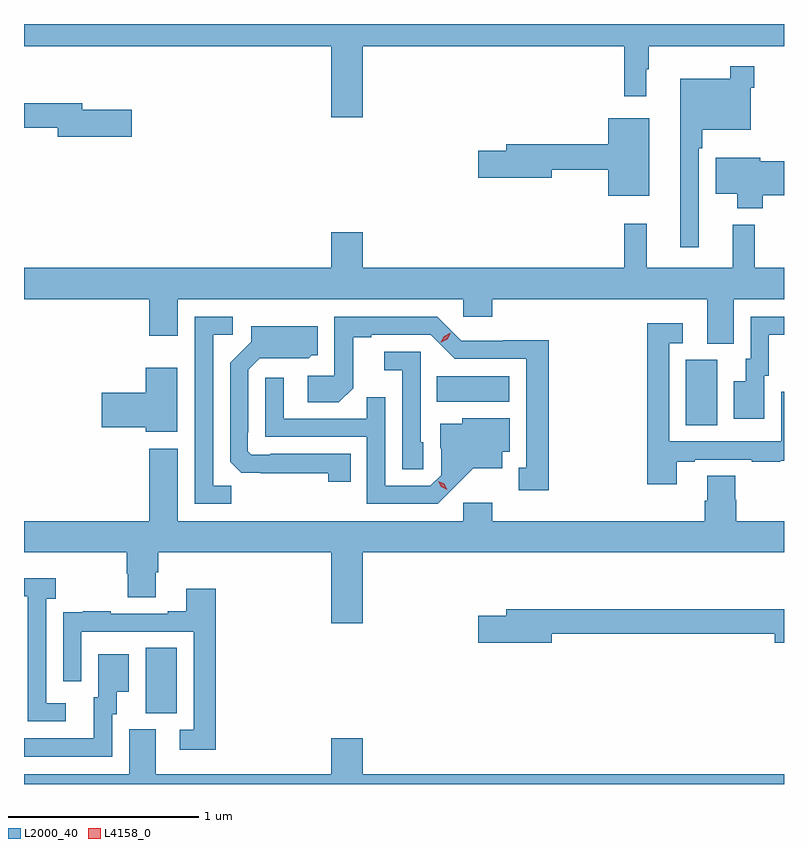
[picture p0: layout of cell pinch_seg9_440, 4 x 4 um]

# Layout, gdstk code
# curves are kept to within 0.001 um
import gdstk
lib = gdstk.Library(unit=1e-6, precision=1e-09)
def R(c, l, rs):  # rectangles x0, y0, x1, y1
    for r in rs: c.add(gdstk.rectangle(r[:2], r[2:], *l))
def P(c, l, *ps):  # polygons
    for p in ps: c.add(gdstk.Polygon(p, *l))
L2000_40 = (2000, 40)
L4158_0 = (4158, 0)

pinch_seg9_440 = lib.new_cell('pinch_seg9_440')
R(pinch_seg9_440, L2000_40, [(247.946,1179.589,248.11,1179.932), (250.79,1181.104,250.954,1181.448), (249.478,1181.228,249.859,1181.362)])
P(pinch_seg9_440, L2000_40, [(249.088,1183.1),(250.465,1183.1),(250.465,1182.837),(250.582,1182.837),(250.582,1182.977),(250.594,1182.977),(250.594,1183.1),(251.306,1183.1),(251.306,1183.216),(247.306,1183.216),(247.306,1183.1),(248.924,1183.1),(248.924,1182.726),(249.088,1182.726)],
  [(250.857,1182.563),(250.877,1182.563),(250.877,1182.659),(251.13,1182.659),(251.13,1182.881),(251.15,1182.881),(251.15,1182.994),(251.022,1182.994),(251.022,1182.928),(250.76,1182.928),(250.76,1182.042),(250.857,1182.042)],
  [(247.873,1182.765),(247.612,1182.765),(247.612,1182.799),(247.306,1182.799),(247.306,1182.67),(247.484,1182.67),(247.484,1182.623),(247.873,1182.623)],
  [(250.597,1182.721),(250.382,1182.721),(250.382,1182.584),(249.845,1182.584),(249.845,1182.548),(249.696,1182.548),(249.696,1182.406),(250.084,1182.406),(250.084,1182.448),(250.382,1182.448),(250.382,1182.311),(250.597,1182.311)],
  [(251.195,1182.316),(251.306,1182.316),(251.306,1182.494),(251.182,1182.494),(251.182,1182.511),(250.946,1182.511),(250.946,1182.323),(251.06,1182.323),(251.06,1182.245),(251.195,1182.245)],
  [(251.041,1181.768),(251.306,1181.768),(251.306,1181.932),(251.153,1181.932),(251.153,1182.16),(251.036,1182.16),(251.036,1181.932),(250.583,1181.932),(250.583,1182.166),(250.465,1182.166),(250.465,1181.932),(249.088,1181.932),(249.088,1182.121),(248.924,1182.121),(248.924,1181.932),(247.306,1181.932),(247.306,1181.768),(247.964,1181.768),(247.964,1181.574),(248.116,1181.574),(248.116,1181.768),(249.618,1181.768),(249.618,1181.675),(249.77,1181.675),(249.77,1181.768),(250.901,1181.768),(250.901,1181.533),(251.041,1181.533)],
  [(248.397,1180.787),(248.301,1180.787),(248.301,1181.58),(248.404,1181.58),(248.404,1181.676),(248.205,1181.676),(248.205,1180.692),(248.397,1180.692)],
  [(250.069,1181.552),(249.828,1181.552),(249.828,1181.55),(249.606,1181.55),(249.48,1181.676),(248.94,1181.676),(248.94,1181.364),(248.799,1181.364),(248.799,1181.224),(248.963,1181.224),(249.039,1181.3),(249.039,1181.568),(249.133,1181.568),(249.133,1181.58),(249.447,1181.58),(249.573,1181.454),(249.95,1181.454),(249.95,1180.881),(249.911,1180.881),(249.911,1180.761),(250.069,1180.761)],
  [(251.203,1181.364),(251.227,1181.364),(251.227,1181.58),(251.306,1181.58),(251.306,1181.676),(251.13,1181.676),(251.13,1181.454),(251.105,1181.454),(251.105,1181.335),(251.042,1181.335),(251.042,1181.139),(251.203,1181.139)],
  [(250.741,1180.911),(250.837,1180.911),(250.837,1180.923),(251.137,1180.923),(251.137,1180.911),(251.285,1180.911),(251.285,1180.917),(251.306,1180.917),(251.306,1181.281),(251.292,1181.281),(251.292,1181.019),(250.701,1181.019),(250.701,1181.535),(250.774,1181.535),(250.774,1181.641),(250.585,1181.641),(250.585,1180.794),(250.741,1180.794)],
  [(249.026,1180.953),(248.602,1180.953),(248.602,1180.95),(248.502,1180.95),(248.484,1180.968),(248.484,1181.068),(248.487,1181.068),(248.487,1181.397),(248.547,1181.457),(248.804,1181.456),(248.82,1181.472),(248.851,1181.472),(248.851,1181.626),(248.501,1181.626),(248.501,1181.544),(248.391,1181.434),(248.391,1180.912),(248.45,1180.853),(248.908,1180.852),(248.908,1180.806),(249.026,1180.806)],
  [(249.408,1181.016),(249.393,1181.016),(249.393,1181.49),(249.201,1181.49),(249.201,1181.393),(249.297,1181.393),(249.297,1180.873),(249.408,1180.873)],
  [(248.113,1181.407),(247.946,1181.407),(247.946,1181.276),(247.716,1181.276),(247.716,1181.093),(247.946,1181.093),(247.946,1181.069),(248.113,1181.069)],
  [(249.568,1180.775),(249.671,1180.877),(249.823,1180.877),(249.823,1180.964),(249.862,1180.964),(249.862,1181.14),(249.612,1181.14),(249.612,1181.113),(249.497,1181.113),(249.497,1180.984),(249.501,1180.984),(249.501,1180.842),(249.444,1180.785),(249.207,1180.785),(249.207,1181.252),(249.109,1181.252),(249.109,1181.139),(248.673,1181.139),(248.673,1181.353),(248.577,1181.353),(248.577,1181.043),(249.111,1181.043),(249.111,1180.692),(249.484,1180.692)],
  [(249.088,1180.436),(251.306,1180.436),(251.306,1180.6),(251.054,1180.6),(251.054,1180.713),(251.049,1180.713),(251.049,1180.838),(250.901,1180.838),(250.901,1180.706),(250.889,1180.706),(250.889,1180.6),(249.77,1180.6),(249.77,1180.696),(249.618,1180.696),(249.618,1180.6),(248.116,1180.6),(248.116,1180.981),(247.964,1180.981),(247.964,1180.6),(247.306,1180.6),(247.306,1180.436),(247.847,1180.436),(247.847,1180.323),(247.852,1180.323),(247.852,1180.198),(247.999,1180.198),(247.999,1180.33),(248.012,1180.33),(248.012,1180.436),(248.924,1180.436),(248.924,1180.062),(249.088,1180.062)],
  [(247.525,1179.642),(247.422,1179.642),(247.422,1180.19),(247.474,1180.19),(247.474,1180.3),(247.306,1180.3),(247.306,1180.203),(247.325,1180.203),(247.325,1180.003),(247.326,1180.003),(247.326,1179.546),(247.525,1179.546)],
  [(248.315,1180.243),(248.159,1180.243),(248.159,1180.126),(248.063,1180.126),(248.063,1180.113),(247.763,1180.113),(247.763,1180.126),(247.615,1180.126),(247.615,1180.119),(247.513,1180.119),(247.513,1180.01),(247.512,1180.01),(247.512,1179.756),(247.608,1179.756),(247.608,1180.017),(248.199,1180.017),(248.199,1179.501),(248.127,1179.501),(248.127,1179.396),(248.315,1179.396)],
  [(250.084,1180.006),(251.258,1180.006),(251.258,1179.959),(251.306,1179.959),(251.306,1180.135),(249.845,1180.135),(249.845,1180.101),(249.696,1180.101),(249.696,1179.959),(250.084,1179.959)],
  [(247.77,1179.582),(247.795,1179.582),(247.795,1179.701),(247.858,1179.701),(247.858,1179.898),(247.697,1179.898),(247.697,1179.672),(247.673,1179.672),(247.673,1179.456),(247.306,1179.456),(247.306,1179.36),(247.77,1179.36)],
  [(251.306,1179.268),(249.088,1179.268),(249.088,1179.457),(248.924,1179.457),(248.924,1179.268),(247.999,1179.268),(247.999,1179.504),(247.859,1179.504),(247.859,1179.268),(247.306,1179.268),(247.306,1179.216),(251.306,1179.216)])
P(pinch_seg9_440, L4158_0, [(249.5,1181.54),(249.5,1181.54),(249.519,1181.572),(249.551,1181.591),(249.551,1181.591),(249.551,1181.59),(249.533,1181.558),(249.501,1181.54)],
  [(249.533,1180.765),(249.503,1180.78),(249.486,1180.81),(249.486,1180.81),(249.486,1180.81),(249.517,1180.795),(249.534,1180.765),(249.534,1180.765)])

lib.write_gds('pinch_seg9_440.gds')
